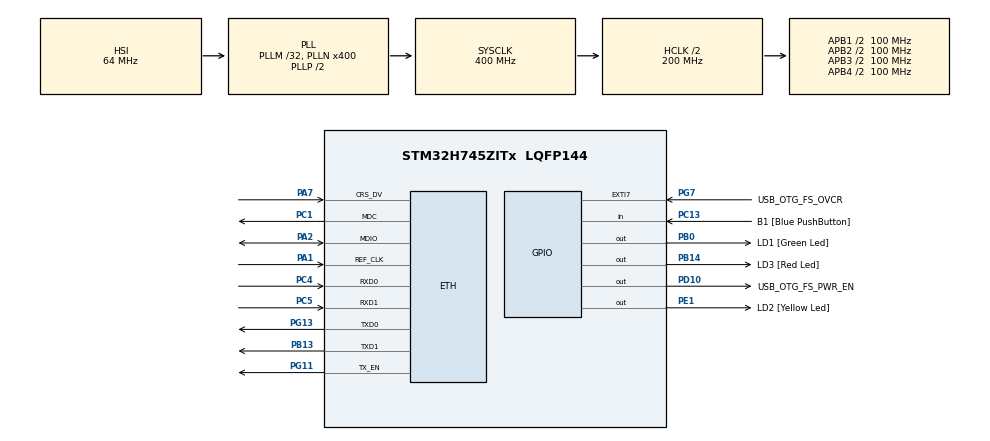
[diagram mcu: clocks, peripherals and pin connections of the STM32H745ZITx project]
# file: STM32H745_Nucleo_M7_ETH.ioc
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CORTEX_M7.AccessPermission_S-Cortex_Memory_Protection_Unit_Region1_Settings_S=MPU_REGION_FULL_ACCESS
CORTEX_M7.BaseAddress_S-Cortex_Memory_Protection_Unit_Region1_Settings_S=0x30040000
CORTEX_M7.CPU_DCache=Enabled
CORTEX_M7.CPU_ICache=Enabled
CORTEX_M7.DisableExec_S-Cortex_Memory_Protection_Unit_Region1_Settings_S=MPU_INSTRUCTION_ACCESS_DISABLE
CORTEX_M7.Enable_S-Cortex_Memory_Protection_Unit_Region1_Settings_S=MPU_REGION_ENABLE
CORTEX_M7.Enable_S-Cortex_Memory_Protection_Unit_Region2_Settings_S=__NULL
CORTEX_M7.IsBufferable_S-Cortex_Memory_Protection_Unit_Region1_Settings_S=MPU_ACCESS_BUFFERABLE
CORTEX_M7.IsShareable_S-Cortex_Memory_Protection_Unit_Region1_Settings_S=MPU_ACCESS_SHAREABLE
CORTEX_M7.Size_S-Cortex_Memory_Protection_Unit_Region1_Settings_S=MPU_REGION_SIZE_512B
CORTEX_M7.TypeExtField_S-Cortex_Memory_Protection_Unit_Region1_Settings_S=MPU_TEX_LEVEL0
CORTEX_M7.default_mode_Activation=1
CortexM4.IPs=FATFS_M4\:I,FREERTOS_M4\:I,IWDG2\:I,RCC,WWDG2\:I,DMA,BDMA,MDMA,NVIC2\:I,USART3,DEBUG,PDM2PCM_M4\:I,PWR,RESMGR_UTILITY,SYS_M4\:I,USB_DEVICE_M4\:I,USB_HOST_M4\:I,CORTEX_M4\:I,OPENAMP_M4\:I,VREFBUF,GPIO
CortexM7.IPs=FATFS_M7\:I,FREERTOS_M7\:I,IWDG1\:I,RCC\:I,WWDG1\:I,DMA\:I,BDMA\:I,MDMA\:I,NVIC1\:I,SYS\:I,USART3\:I,USB_OTG_FS\:I,ETH\:I,CORTEX_M7\:I,DEBUG\:I,PDM2PCM_M7\:I,PWR\:I,RESMGR_UTILITY\:I,USB_DEVICE_M7\:I,USB_HOST_M7\:I,OPENAMP_M7\:I,VREFBUF\:I,TIM6\:I,LWIP\:I,GPIO\:I
ETH.MediaInterface=HAL_ETH_RMII_MODE
ETH.RxBuffAddress=0x30040200
ETH.RxBuffLen=1536
ETH.RxDescAddress=0x30040000
ETH.TxDescAddress=0x30040100
FREERTOS_M7.Tasks01=defaultTask,24,512,StartDefaultTask,Default,NULL,Dynamic,NULL,NULL
FREERTOS_M7.configCHECK_FOR_STACK_OVERFLOW=1
FREERTOS_M7.configMINIMAL_STACK_SIZE=512
FREERTOS_M7.configTOTAL_HEAP_SIZE=30*1024
FREERTOS_M7.configUSE_NEWLIB_REENTRANT=1
LWIP.BSP.number=1
LWIP.DEFAULT_THREAD_STACKSIZE=2048
LWIP.IP_ADDRESS=010.001.000.050
LWIP.LWIP_DHCP=0
LWIP.LWIP_RAM_HEAP_POINTER=0x30020000
LWIP.MEM_SIZE=131040
LWIP.NETMASK_ADDRESS=255.255.255.000
LWIP.TCPIP_THREAD_STACKSIZE=2048
LWIP.TCP_MSS=1460
LWIP.TCP_SND_BUF=5840
LWIP.TCP_SND_QUEUELEN=16
LWIP.Version=v2.1.2_Cube
LWIP0.BSP.STBoard=false
LWIP0.BSP.api=BSP_COMPONENT_DRIVER
LWIP0.BSP.component=LAN8742
LWIP0.BSP.instance=LAN8742
LWIP0.BSP.name=Driver_PHY
LWIP0.BSP.semaphore=S_LAN8742
LWIP0.BSP.solution=LAN8742
Mcu.Family=STM32H7
Mcu.Name=STM32H745ZITx
Mcu.Package=LQFP144
NVIC1.ETH_IRQn=true\:5\:0\:false\:false\:true\:true\:true\:true\:true
NVIC1.PriorityGroup=NVIC_PRIORITYGROUP_4
NVIC1.TIM6_DAC_IRQn=true\:15\:0\:false\:false\:true\:false\:false\:true\:true
NVIC1.TimeBase=TIM6_DAC_IRQn
NVIC1.TimeBaseIP=TIM6
NVIC2.PriorityGroup=NVIC_PRIORITYGROUP_4
PA1.GPIO_Speed=GPIO_SPEED_FREQ_VERY_HIGH
PA1.Mode=RMII
PA1.PinAttribute=CortexM7
PA1.Signal=ETH_REF_CLK
PA11.PinAttribute=CortexM7
PA11.Signal=USB_OTG_FS_DM
PA12.PinAttribute=CortexM7
PA12.Signal=USB_OTG_FS_DP
PA2.GPIO_Speed=GPIO_SPEED_FREQ_VERY_HIGH
PA2.Mode=RMII
PA2.PinAttribute=CortexM7
PA2.Signal=ETH_MDIO
PA7.GPIO_Speed=GPIO_SPEED_FREQ_VERY_HIGH
PA7.Mode=RMII
PA7.PinAttribute=CortexM7
PA7.Signal=ETH_CRS_DV
PA8.PinAttribute=CortexM7
PA8.Signal=USB_OTG_FS_SOF
PA9.PinAttribute=CortexM7
PA9.Signal=USB_OTG_FS_VBUS
PB0.GPIO_Label=LD1 [Green Led]
PB0.PinAttribute=Free
PB0.Signal=GPIO_Output
PB13.GPIO_Speed=GPIO_SPEED_FREQ_VERY_HIGH
PB13.Mode=RMII
PB13.PinAttribute=CortexM7
PB13.Signal=ETH_TXD1
PB14.GPIO_Label=LD3 [Red Led]
PB14.PinAttribute=Free
PB14.Signal=GPIO_Output
PC1.GPIO_Speed=GPIO_SPEED_FREQ_VERY_HIGH
PC1.Mode=RMII
PC1.PinAttribute=CortexM7
PC1.Signal=ETH_MDC
PC13.GPIO_Label=B1 [Blue PushButton]
PC13.PinAttribute=Free
PC13.Signal=GPIO_Input
PC14-OSC32_IN\ (OSC32_IN).PinAttribute=CortexM7
PC14-OSC32_IN\ (OSC32_IN).Signal=RCC_OSC32_IN
PC15-OSC32_OUT\ (OSC32_OUT).PinAttribute=CortexM7
PC15-OSC32_OUT\ (OSC32_OUT).Signal=RCC_OSC32_OUT
PC4.GPIO_Speed=GPIO_SPEED_FREQ_VERY_HIGH
PC4.Mode=RMII
PC4.PinAttribute=CortexM7
PC4.Signal=ETH_RXD0
PC5.GPIO_Speed=GPIO_SPEED_FREQ_VERY_HIGH
PC5.Mode=RMII
PC5.PinAttribute=CortexM7
PC5.Signal=ETH_RXD1
PD10.GPIO_Label=USB_OTG_FS_PWR_EN
PD10.PinAttribute=Free
PD10.Signal=GPIO_Output
PD8.GPIO_Label=STLINK_RX
PD8.PinAttribute=CortexM7
PD8.Signal=USART3_TX
PD9.GPIO_Label=STLINK_TX
PD9.PinAttribute=CortexM7
PD9.Signal=USART3_RX
PE1.GPIO_Label=LD2 [Yellow Led]
PE1.PinAttribute=Free
PE1.Signal=GPIO_Output
PG11.GPIO_Speed=GPIO_SPEED_FREQ_VERY_HIGH
PG11.Mode=RMII
PG11.PinAttribute=CortexM7
PG11.Signal=ETH_TX_EN
PG13.GPIO_Speed=GPIO_SPEED_FREQ_VERY_HIGH
PG13.Mode=RMII
PG13.PinAttribute=CortexM7
PG13.Signal=ETH_TXD0
PG7.GPIO_Label=USB_OTG_FS_OVCR
PG7.PinAttribute=Free
PG7.Signal=GPXTI7
PH0-OSC_IN\ (PH0).PinAttribute=CortexM7
PH0-OSC_IN\ (PH0).Signal=RCC_OSC_IN
PH1-OSC_OUT\ (PH1).PinAttribute=CortexM7
PH1-OSC_OUT\ (PH1).Signal=RCC_OSC_OUT
ProjectManager.HeapSize=M4-0x200,M7-0x200
ProjectManager.StackSize=M4-0x400,M7-0x400
ProjectManager.TargetToolchain=STM32CubeIDE
RCC.ADCFreq_Value=129000000
RCC.APB1Freq_Value=100000000
RCC.APB2Freq_Value=100000000
RCC.APB3Freq_Value=100000000
RCC.APB4Freq_Value=100000000
RCC.CortexFreq_Value=400000000
RCC.D1PPRE=RCC_APB3_DIV2
RCC.D2PPRE1=RCC_APB1_DIV2
RCC.D2PPRE2=RCC_APB2_DIV2
RCC.D3PPRE=RCC_APB4_DIV2
RCC.DIVM3=22
RCC.DIVN1=400
RCC.DIVN3=169
RCC.DIVQ3=4
RCC.HCLKFreq_Value=200000000
RCC.HPRE=RCC_HCLK_DIV2
RCC.PLL2FRACN=0
RCC.PLL3FRACN=0
RCC.PLLFRACN=0
RCC.SYSCLKFreq_VALUE=400000000
RCC.SYSCLKSource=RCC_SYSCLKSOURCE_PLLCLK
RCC.SupplySource=PWR_DIRECT_SMPS_SUPPLY
RCC.USBCLockSelection=RCC_USBCLKSOURCE_PLL3
RCC.USBFreq_Value=122909090.9090909
VP_FREERTOS_M7_VS_CMSIS_V2.Mode=CMSIS_V2
VP_LWIP_VS_Enabled.Mode=Enabled
VP_SYS_M4_VS_Systick.Mode=SysTick
VP_SYS_VS_tim6.Mode=TIM6
board=NUCLEO-H745ZI-Q

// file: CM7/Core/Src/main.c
/* USER CODE BEGIN Header */
/**
  ******************************************************************************
  * @file           : main.c
  * @brief          : Main program body
  ******************************************************************************
  * @attention
  *
  * Copyright (c) 2025 STMicroelectronics.
  * All rights reserved.
  *
  * This software is licensed under terms that can be found in the LICENSE file
  * in the root directory of this software component.
  * If no LICENSE file comes with this software, it is provided AS-IS.
  *
  ******************************************************************************
  */
/* USER CODE END Header */
#include "main.h"
#include "cmsis_os.h"
#include "lwip.h"

/* USER CODE BEGIN Includes */
/* ETH_CODE: add lwiperf, see comment in StartDefaultTask function */
#include "lwip/apps/lwiperf.h"
#include "lwip/udp.h"
#include "string.h"
/* USER CODE END Includes */

/* USER CODE BEGIN PD */

#ifndef HSEM_ID_0
#define HSEM_ID_0 (0U) /* HW semaphore 0*/
#endif

/* USER CODE END PD */

/* Definitions for defaultTask */
osThreadId_t defaultTaskHandle;
const osThreadAttr_t defaultTask_attributes = {
  .name = "defaultTask",
  .stack_size = 512 * 4,
  .priority = (osPriority_t) osPriorityNormal,
};

void SystemClock_Config(void);
static void MPU_Config(void);
static void MX_GPIO_Init(void);
void StartDefaultTask(void *argument);

int main(void)
{

/* USER CODE BEGIN Boot_Mode_Sequence_0 */

/* USER CODE END Boot_Mode_Sequence_0 */

  /* MPU Configuration--------------------------------------------------------*/
  MPU_Config();

  /* Enable the CPU Cache */

  /* Enable I-Cache---------------------------------------------------------*/
  SCB_EnableICache();

  /* Enable D-Cache---------------------------------------------------------*/
  SCB_EnableDCache();

/* USER CODE BEGIN Boot_Mode_Sequence_1 */

/* USER CODE END Boot_Mode_Sequence_1 */
  /* MCU Configuration--------------------------------------------------------*/

  /* Reset of all peripherals, Initializes the Flash interface and the Systick. */
  HAL_Init();

  /* Configure the system clock */
  SystemClock_Config();
/* USER CODE BEGIN Boot_Mode_Sequence_2 */

/* USER CODE END Boot_Mode_Sequence_2 */

  /* Initialize all configured peripherals */
  MX_GPIO_Init();
  /* USER CODE BEGIN 2 */
  /* ETH_CODE: fixed core synchronization
   * Release M4 core after GPIO and peripherals init
   * to avoid conflict.
   */
  __HAL_RCC_HSEM_CLK_ENABLE();
  HAL_HSEM_FastTake(HSEM_ID_0);
  HAL_HSEM_Release(HSEM_ID_0,0);
  /* USER CODE END 2 */

  /* Init scheduler */
  osKernelInitialize();

  /* Create the thread(s) */
  /* creation of defaultTask */
  defaultTaskHandle = osThreadNew(StartDefaultTask, NULL, &defaultTask_attributes);

  /* Start scheduler */
  osKernelStart();

  /* We should never get here as control is now taken by the scheduler */

  /* Infinite loop */
  while (1)
  {

  }
}

void SystemClock_Config(void)
{
  RCC_OscInitTypeDef RCC_OscInitStruct = {0};
  RCC_ClkInitTypeDef RCC_ClkInitStruct = {0};

  /** Supply configuration update enable
  */
  HAL_PWREx_ConfigSupply(PWR_DIRECT_SMPS_SUPPLY);

  /** Configure the main internal regulator output voltage
  */
  __HAL_PWR_VOLTAGESCALING_CONFIG(PWR_REGULATOR_VOLTAGE_SCALE1);

  while(!__HAL_PWR_GET_FLAG(PWR_FLAG_VOSRDY)) {}

  /** Initializes the RCC Oscillators according to the specified parameters
  * in the RCC_OscInitTypeDef structure.
  */
  RCC_OscInitStruct.OscillatorType = RCC_OSCILLATORTYPE_HSI;
  RCC_OscInitStruct.HSIState = RCC_HSI_DIV1;
  RCC_OscInitStruct.HSICalibrationValue = RCC_HSICALIBRATION_DEFAULT;
  RCC_OscInitStruct.PLL.PLLState = RCC_PLL_ON;
  RCC_OscInitStruct.PLL.PLLSource = RCC_PLLSOURCE_HSI;
  RCC_OscInitStruct.PLL.PLLM = 32;
  RCC_OscInitStruct.PLL.PLLN = 400;
  RCC_OscInitStruct.PLL.PLLP = 2;
  RCC_OscInitStruct.PLL.PLLQ = 2;
  RCC_OscInitStruct.PLL.PLLR = 2;
  RCC_OscInitStruct.PLL.PLLRGE = RCC_PLL1VCIRANGE_1;
  RCC_OscInitStruct.PLL.PLLVCOSEL = RCC_PLL1VCOWIDE;
  RCC_OscInitStruct.PLL.PLLFRACN = 0;
  if (HAL_RCC_OscConfig(&RCC_OscInitStruct) != HAL_OK)
  {
    Error_Handler();
  }

  /** Initializes the CPU, AHB and APB buses clocks
  */
  RCC_ClkInitStruct.ClockType = RCC_CLOCKTYPE_HCLK|RCC_CLOCKTYPE_SYSCLK
                              |RCC_CLOCKTYPE_PCLK1|RCC_CLOCKTYPE_PCLK2
                              |RCC_CLOCKTYPE_D3PCLK1|RCC_CLOCKTYPE_D1PCLK1;
  RCC_ClkInitStruct.SYSCLKSource = RCC_SYSCLKSOURCE_PLLCLK;
  RCC_ClkInitStruct.SYSCLKDivider = RCC_SYSCLK_DIV1;
  RCC_ClkInitStruct.AHBCLKDivider = RCC_HCLK_DIV2;
  RCC_ClkInitStruct.APB3CLKDivider = RCC_APB3_DIV2;
  RCC_ClkInitStruct.APB1CLKDivider = RCC_APB1_DIV2;
  RCC_ClkInitStruct.APB2CLKDivider = RCC_APB2_DIV2;
  RCC_ClkInitStruct.APB4CLKDivider = RCC_APB4_DIV2;

  if (HAL_RCC_ClockConfig(&RCC_ClkInitStruct, FLASH_LATENCY_2) != HAL_OK)
  {
    Error_Handler();
  }
}

static void MX_GPIO_Init(void)
{
  GPIO_InitTypeDef GPIO_InitStruct = {0};

  /* GPIO Ports Clock Enable */
  __HAL_RCC_GPIOC_CLK_ENABLE();
  __HAL_RCC_GPIOH_CLK_ENABLE();
  __HAL_RCC_GPIOA_CLK_ENABLE();
  __HAL_RCC_GPIOB_CLK_ENABLE();
  __HAL_RCC_GPIOD_CLK_ENABLE();
  __HAL_RCC_GPIOG_CLK_ENABLE();

  /*Configure GPIO pins : PD8 PD9 */
  GPIO_InitStruct.Pin = GPIO_PIN_8|GPIO_PIN_9;
  GPIO_InitStruct.Mode = GPIO_MODE_AF_PP;
  GPIO_InitStruct.Pull = GPIO_NOPULL;
  GPIO_InitStruct.Speed = GPIO_SPEED_FREQ_LOW;
  GPIO_InitStruct.Alternate = GPIO_AF7_USART3;
  HAL_GPIO_Init(GPIOD, &GPIO_InitStruct);

  /*Configure GPIO pins : PA8 PA11 PA12 */
  GPIO_InitStruct.Pin = GPIO_PIN_8|GPIO_PIN_11|GPIO_PIN_12;
  GPIO_InitStruct.Mode = GPIO_MODE_AF_PP;
  GPIO_InitStruct.Pull = GPIO_NOPULL;
  GPIO_InitStruct.Speed = GPIO_SPEED_FREQ_LOW;
  GPIO_InitStruct.Alternate = GPIO_AF10_OTG1_FS;
  HAL_GPIO_Init(GPIOA, &GPIO_InitStruct);

}

/* USER CODE BEGIN 4 */
void udp_recv_callback(void* arg, struct udp_pcb* upcb, struct pbuf* p, const ip_addr_t* addr, u16_t port)
{
	if (p != NULL) {
		char prefix[11] = "Received: \"";
		char suffix[2] = "\"\n";

		int len = sizeof(prefix) + sizeof(suffix) + p->tot_len;
		struct pbuf* p_out = pbuf_alloc(PBUF_TRANSPORT, len, PBUF_RAM);
		if (p_out != NULL) {
			pbuf_take_at(p_out, prefix, sizeof(prefix), 0);
			pbuf_copy_partial(p, p_out->payload + sizeof(prefix), p->tot_len, 0);
			pbuf_take_at(p_out, suffix, sizeof(suffix), len - sizeof(suffix));
			udp_sendto(upcb, p_out, addr, port);
			pbuf_free(p_out);
		}
		pbuf_free(p);
	}
}
/* USER CODE END 4 */

void StartDefaultTask(void *argument)
{
  /* init code for LWIP */
  MX_LWIP_Init();
  /* USER CODE BEGIN 5 */
//  /* ETH_CODE: Adding lwiperf to measure TCP/IP performance.
//     * iperf 2.0.6 (or older?) is required for the tests. Newer iperf2 versions
//     * might work without data check, but they send different headers.
//     * iperf3 is not compatible at all.
//     * Adding lwiperf.c file to the project is necessary.
//     * The default include path should already contain
//     * 'lwip/apps/lwiperf.h'
//     */
//    LOCK_TCPIP_CORE();
//    lwiperf_start_tcp_server_default(NULL, NULL);
//
//    ip4_addr_t remote_addr;
//    IP4_ADDR(&remote_addr, 10, 1, 0, 2);
//    lwiperf_start_tcp_client_default(&remote_addr, NULL, NULL);
//    UNLOCK_TCPIP_CORE();
//    /* Infinite loop */
//    for(;;)
//    {
//      osDelay(1000);
//    }

//  	const char* message = "Hello UDP message!\n\r";
//	osDelay(1000);
//	LOCK_TCPIP_CORE();
//	ip_addr_t PC_IPADDR;
//	IP_ADDR4(&PC_IPADDR, 10, 1, 0, 2);
//	struct udp_pcb* my_udp = udp_new();
//	udp_connect(my_udp, &PC_IPADDR, 55151);
//	struct pbuf* udp_buffer = NULL;
//	UNLOCK_TCPIP_CORE();
//
//	/* Infinite loop */
//	for (;;) {
//	  osDelay(500);
//	  HAL_GPIO_TogglePin(GPIOB, GPIO_PIN_0);
//	  /* !! PBUF_RAM is critical for correct operation !! */
//	  LOCK_TCPIP_CORE();
//	  udp_buffer = pbuf_alloc(PBUF_TRANSPORT, strlen(message), PBUF_RAM);
//	  if (udp_buffer != NULL) {
//		memcpy(udp_buffer->payload, message, strlen(message));
//		udp_send(my_udp, udp_buffer);
//		pbuf_free(udp_buffer);
//	  }
//	  UNLOCK_TCPIP_CORE();
//	}

  struct udp_pcb* upcb;
  err_t err;

  LOCK_TCPIP_CORE();
  upcb = udp_new();
  if (upcb == NULL)
	  return;
  err = udp_bind(upcb, IP_ADDR_ANY, 6767);
  if (err != ERR_OK) {
	  udp_remove(upcb);
	  return;
  }
  udp_recv(upcb, udp_recv_callback, NULL);
  UNLOCK_TCPIP_CORE();

  for (;;) {
	  osDelay(1000);
  }
  /* USER CODE END 5 */
}

 /* MPU Configuration */

void MPU_Config(void)
{
  MPU_Region_InitTypeDef MPU_InitStruct = {0};

  /* Disables the MPU */
  HAL_MPU_Disable();

  /** Initializes and configures the Region and the memory to be protected
  */
  MPU_InitStruct.Enable = MPU_REGION_ENABLE;
  MPU_InitStruct.Number = MPU_REGION_NUMBER0;
  MPU_InitStruct.BaseAddress = 0x0;
  MPU_InitStruct.Size = MPU_REGION_SIZE_4GB;
  MPU_InitStruct.SubRegionDisable = 0x87;
  MPU_InitStruct.TypeExtField = MPU_TEX_LEVEL0;
  MPU_InitStruct.AccessPermission = MPU_REGION_NO_ACCESS;
  MPU_InitStruct.DisableExec = MPU_INSTRUCTION_ACCESS_DISABLE;
  MPU_InitStruct.IsShareable = MPU_ACCESS_SHAREABLE;
  MPU_InitStruct.IsCacheable = MPU_ACCESS_NOT_CACHEABLE;
  MPU_InitStruct.IsBufferable = MPU_ACCESS_NOT_BUFFERABLE;

  HAL_MPU_ConfigRegion(&MPU_InitStruct);

  /** Initializes and configures the Region and the memory to be protected
  */
  MPU_InitStruct.Number = MPU_REGION_NUMBER1;
  MPU_InitStruct.BaseAddress = 0x30040000;
  MPU_InitStruct.Size = MPU_REGION_SIZE_512B;
  MPU_InitStruct.SubRegionDisable = 0x0;
  MPU_InitStruct.AccessPermission = MPU_REGION_FULL_ACCESS;
  MPU_InitStruct.IsBufferable = MPU_ACCESS_BUFFERABLE;

  HAL_MPU_ConfigRegion(&MPU_InitStruct);
  /* Enables the MPU */
  HAL_MPU_Enable(MPU_PRIVILEGED_DEFAULT);

}

void HAL_TIM_PeriodElapsedCallback(TIM_HandleTypeDef *htim)
{
  if (htim->Instance == TIM6)
  {
    HAL_IncTick();
  }
}

void Error_Handler(void)
{
  __disable_irq();
  while (1)
  {
  }
}

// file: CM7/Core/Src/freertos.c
/* USER CODE BEGIN Header */
/**
  ******************************************************************************
  * File Name          : freertos.c
  * Description        : Code for freertos applications
  ******************************************************************************
  * @attention
  *
  * Copyright (c) 2025 STMicroelectronics.
  * All rights reserved.
  *
  * This software is licensed under terms that can be found in the LICENSE file
  * in the root directory of this software component.
  * If no LICENSE file comes with this software, it is provided AS-IS.
  *
  ******************************************************************************
  */
/* USER CODE END Header */

#include "FreeRTOS.h"
#include "task.h"
#include "main.h"

/* Hook prototypes */
void vApplicationStackOverflowHook(xTaskHandle xTask, signed char *pcTaskName);

/* USER CODE BEGIN 4 */
void vApplicationStackOverflowHook(xTaskHandle xTask, signed char *pcTaskName)
{
   /* ETH_CODE: add breakpoint when stack oveflow is detected by FreeRTOS.
	* Useful for debugging issues.
	*/
   __BKPT(0);
}
/* USER CODE END 4 */
